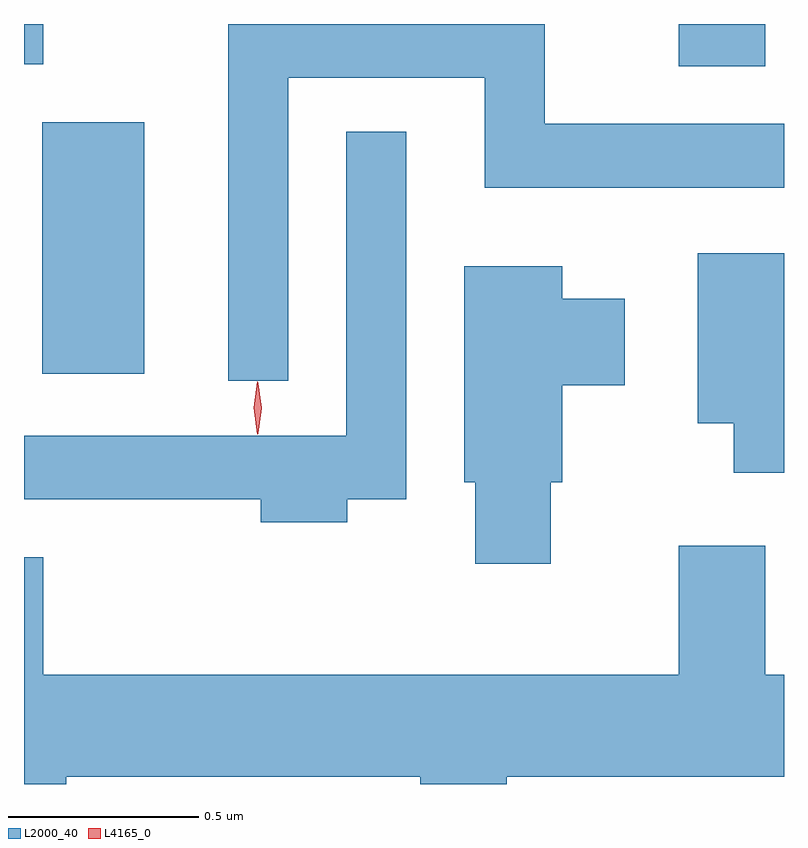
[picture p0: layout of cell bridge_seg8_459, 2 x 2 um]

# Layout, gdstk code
import gdstk
lib = gdstk.Library(unit=1e-6, precision=1e-09)
def R(c, l, rs):  # rectangles x0, y0, x1, y1
    for r in rs: c.add(gdstk.rectangle(r[:2], r[2:], *l))
def P(c, l, *ps):  # polygons
    for p in ps: c.add(gdstk.Polygon(p, *l))
L2000_40 = (2000, 40)
L4165_0 = (4165, 0)

bridge_seg8_459 = lib.new_cell('bridge_seg8_459')
R(bridge_seg8_459, L2000_40, [(522.366,1930.716,522.634,1931.379), (524.041,1931.526,524.269,1931.637), (522.318,1931.531,522.369,1931.637)])
P(bridge_seg8_459, L2000_40, [(523.014,1931.496),(523.531,1931.496),(523.531,1931.206),(524.318,1931.206),(524.318,1931.374),(523.689,1931.374),(523.689,1931.637),(522.856,1931.637),(522.856,1930.698),(523.014,1930.698)],
  [(523.169,1930.386),(523.324,1930.386),(523.324,1931.353),(523.166,1931.353),(523.166,1930.554),(522.318,1930.554),(522.318,1930.386),(522.941,1930.386),(522.941,1930.326),(523.169,1930.326)],
  [(524.318,1931.034),(524.091,1931.034),(524.091,1930.586),(524.186,1930.586),(524.186,1930.456),(524.318,1930.456)],
  [(523.704,1930.431),(523.734,1930.431),(523.734,1930.686),(523.899,1930.686),(523.899,1930.914),(523.734,1930.914),(523.734,1930.999),(523.476,1930.999),(523.476,1930.431),(523.506,1930.431),(523.506,1930.216),(523.704,1930.216)],
  [(522.429,1929.656),(523.361,1929.656),(523.361,1929.637),(523.589,1929.637),(523.589,1929.656),(524.318,1929.656),(524.318,1929.924),(524.269,1929.924),(524.269,1930.264),(524.041,1930.264),(524.041,1929.924),(522.369,1929.924),(522.369,1930.234),(522.318,1930.234),(522.318,1929.637),(522.429,1929.637)])
P(bridge_seg8_459, L4165_0, [(522.933,1930.557),(522.932,1930.558),(522.923,1930.627),(522.932,1930.696),(522.933,1930.696),(522.933,1930.696),(522.943,1930.627),(522.933,1930.558)],
  [(522.934,1930.559),(522.934,1930.56),(522.924,1930.626),(522.934,1930.692),(522.934,1930.693),(522.935,1930.692),(522.944,1930.626),(522.935,1930.56)])

lib.write_gds('bridge_seg8_459.gds')
